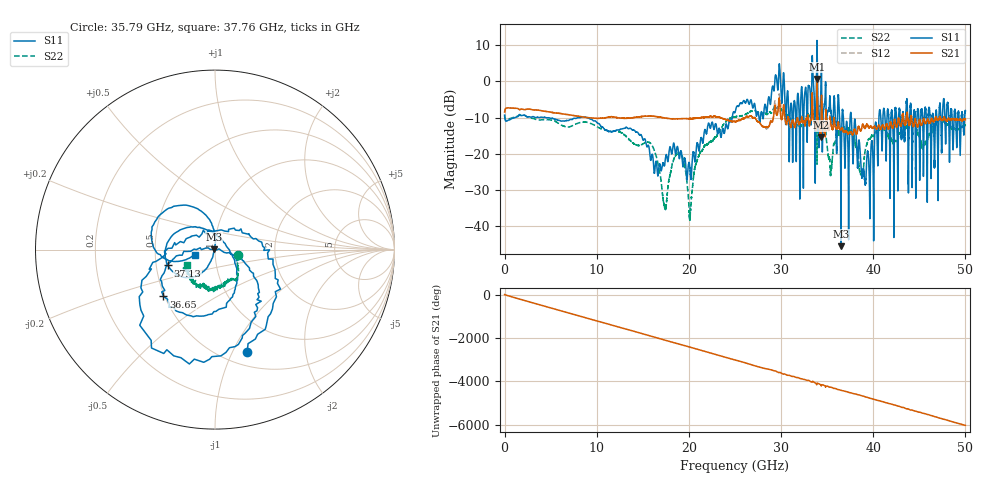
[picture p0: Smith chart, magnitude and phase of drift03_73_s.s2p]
!Created with skrf (http://scikit-rf.org).
# Hz S RI R 50.0
!freq ReS11 ImS11 ReS21 ImS21 ReS12 ImS12 ReS22 ImS22
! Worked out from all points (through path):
!   10001 points, 300 kHz to 50 GHz, reference 50 ohm
!   highest |S21| = 0.64 dB at 33.9 GHz (marker M1); lowest = -15.5 dB at 34.32 GHz (marker M2)
!   group delay of S21, straight-line fit = 335 ps
!   lowest |S11| = -45.6 dB at 36.5 GHz (marker M3), VSWR 1.01, Z = 49.5 + j0.158 ohm
!   |S11| at or under -10 dB: 4.47 GHz to 7.97 GHz (3.5 GHz wide, 56.3 % of centre); 9.008 GHz to 24.7 GHz (15.69 GHz wide, 93.1 % of centre); 37.62 GHz to 40.62 GHz (2.997 GHz wide, 7.66 % of centre) (the widest 3 of 67)
!   |S22| runs from -38.4 to -5.9 dB; largest |S21 - S12| = 0.11
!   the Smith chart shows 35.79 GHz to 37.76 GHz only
!   S11 on the Smith chart (normalised r, x): 35.79 GHz: 0.65, -1.14; 36.65 GHz: 0.49, -0.30; 37.13 GHz: 0.58, -0.11; 37.76 GHz: 0.80, -0.04
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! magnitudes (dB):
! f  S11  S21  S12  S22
! 300 kHz  -9.3  -8.5  -8.5  -9.4
! 8.335 GHz  -9.9  -9.8  -9.8  -11.3
! 16.67 GHz  -25.5  -9.8  -9.8  -23.0
! 17.41 GHz  -22.3  -10.1  -10.1  -34.8
! 19.1 GHz  -19.5  -10.3  -10.3  -20.2
! 20.13 GHz  -24.8  -10.3  -10.3  -36.4
! 21.19 GHz  -17.9  -10.1  -10.1  -19.8
! 25 GHz  -8.5  -11.1  -11.1  -9.8
! 27.86 GHz  -8.4  -12.1  -12.2  -8.7
! 29.66 GHz  -2.3  -8.3  -8.4  -7.1
! 31.08 GHz  -6.1  -12.6  -12.7  -10.5
! 33.34 GHz  0.4  -7.4  -7.5  -9.3
! 33.9 GHz  11.3  0.6  0.2  -22.9
! 34.32 GHz  -2.9  -15.5  -14.9  -11.2
! 35.79 GHz  -4.5  -10.6  -10.8  -17.5
! 36.5 GHz  -45.6  -13.2  -13.1  -13.5
! 36.65 GHz  -8.2  -13.1  -12.8  -13.4
! 37.13 GHz  -11.1  -13.9  -13.8  -12.9
! 37.76 GHz  -18.8  -14.7  -14.6  -15.0
! 38.98 GHz  -25.9  -12.5  -12.6  -22.9
! 41.67 GHz  -9.5  -13.3  -13.2  -15.2
! 50 GHz  -8.2  -10.6  -10.5  -12.2
